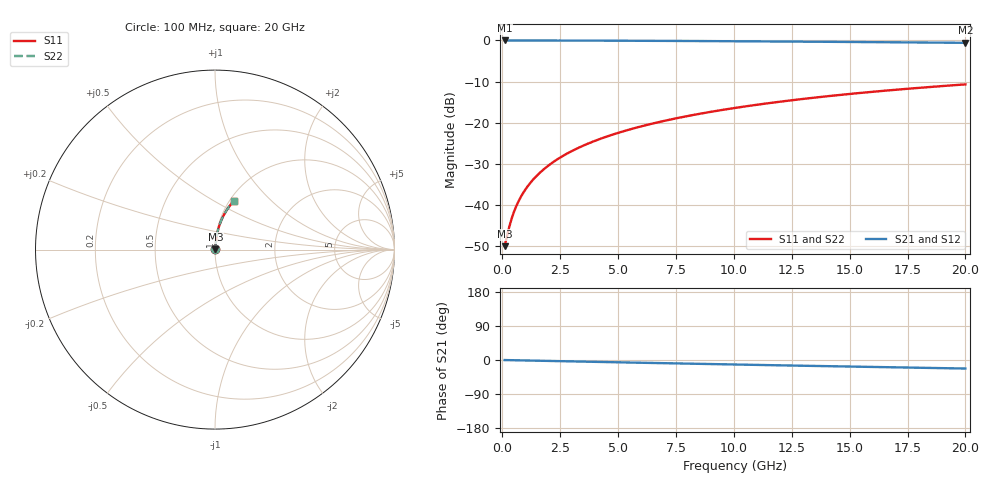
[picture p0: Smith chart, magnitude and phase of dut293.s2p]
! Touchstone file exported from HFSS 2024.1.0
!  File:  C:/UserFiles/LocalFiles/RDL_TSV_Batchsim/temp_RDL_bottom_293_1778703457.aedt
!  Generated:  04:20:39 AM May 14, 2026
!  Design:  RDL_bottom
!  Project:  temp_RDL_bottom_293_1778703457
!  Setup:  Setup1
!  Solution:  Sweep
! Variables:
!  dtsv = 10.80580581um
!  hbump = 3um
!  htsv = 79.76um
!  ldown = 246.58um
!  lrdl = 100um
!  p = 40
!  p1 = 46.53um
!  rhole = 1um
!  t = 450um
!  tdown = 2.94um
!  trdl = 3.915915916um
!  wdown = 11.47um
!  wrdl = 20um
# GHz S MA R 50.000000
! Terminal data exported
! Port[1] = RDL1_T1
! Port[2] = RDL1_T2
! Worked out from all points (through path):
!   200 points, 100 MHz to 20 GHz, reference 50 ohm
!   highest |S21| = -0.02 dB at 100 MHz (marker M1); lowest = -0.6 dB at 20 GHz (marker M2)
!   group delay of S21, straight-line fit = 3.13 ps
!   lowest |S11| = -50.0 dB at 100 MHz (marker M3), VSWR 1.01, Z = 50.3 + j0.156 ohm
!   |S11| at or under -10 dB: start of sweep to end of sweep
!   |S22| runs from -50.0 to -10.7 dB; largest |S21 - S12| = 2.1e-15
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0.1  0.003159 29.4  0.9972 -0.1  0.9972 -0.1  0.003159 29.4
! Gamma 0 0 0 0
! Port Impedance 50 0 50 0
0.3  0.005418 58.5  0.9972 -0.4  0.9972 -0.4  0.005417 58.5
0.4  0.006779 64.8  0.9971 -0.5  0.9971 -0.5  0.006779 64.8
0.5  0.008187 69.0  0.9971 -0.6  0.9971 -0.6  0.008187 69.0
0.6  0.00962 71.9  0.997 -0.8  0.997 -0.8  0.009619 71.9
0.7  0.01107 74.0  0.9969 -0.9  0.9969 -0.9  0.01107 74.0
0.9  0.01399 76.9  0.9968 -1.1  0.9968 -1.1  0.01399 76.9
1.2  0.0184 79.4  0.9966 -1.5  0.9966 -1.5  0.0184 79.4
1.4  0.02136 80.5  0.9964 -1.7  0.9964 -1.7  0.02136 80.5
1.7  0.0258 81.6  0.9961 -2.1  0.9961 -2.1  0.0258 81.6
2.2  0.03323 82.6  0.9956 -2.7  0.9956 -2.7  0.03323 82.6
2.8  0.04218 83.2  0.9948 -3.4  0.9948 -3.4  0.04218 83.2
3.5  0.05264 83.4  0.9938 -4.3  0.9938 -4.3  0.05264 83.4
4.2  0.06314 83.3  0.9925 -5.1  0.9925 -5.1  0.06314 83.3
5  0.07516 82.9  0.9908 -6.1  0.9908 -6.1  0.07516 82.9
5.9  0.08872 82.4  0.9886 -7.2  0.9886 -7.2  0.08872 82.4
6.8  0.1023 81.8  0.9862 -8.2  0.9862 -8.2  0.1023 81.8
8.3  0.1249 80.5  0.9816 -9.9  0.9816 -9.9  0.1249 80.5
10.1  0.1518 78.9  0.9755 -12.0  0.9755 -12.0  0.1518 78.9
13.4  0.2003 75.6  0.9629 -15.6  0.9629 -15.6  0.2003 75.6
16.7  0.2471 72.2  0.9488 -19.1  0.9488 -19.1  0.2471 72.2
20  0.2918 68.8  0.9335 -22.5  0.9335 -22.5  0.2918 68.8
